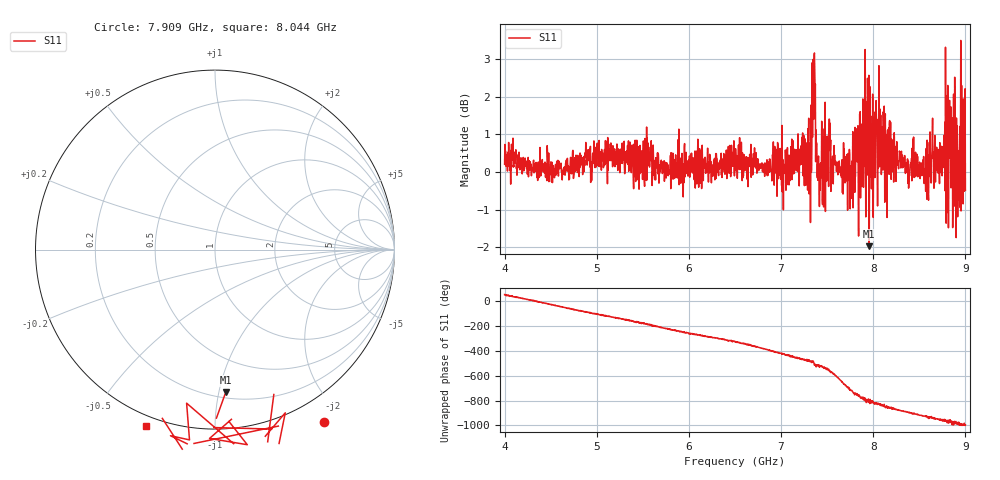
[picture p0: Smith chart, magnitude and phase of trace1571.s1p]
! Created with skrf 1.8.0 (http://scikit-rf.org).
# Hz S RI R 50.0
!freq ReS11 ImS11
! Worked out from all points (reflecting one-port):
!   1601 points, 4 GHz to 9 GHz, reference 50 ohm
!   lowest |S11| = -2.0 dB at 7.956 GHz (marker M1), VSWR 8.84, Z = 12.1 - j52.4 ohm
!   phase of S11 starts at 53 deg and turns -1049 deg over the sweep
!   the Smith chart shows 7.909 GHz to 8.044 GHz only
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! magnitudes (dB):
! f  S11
! 4 GHz  0.2
! 4.625 GHz  -0.2
! 5.25 GHz  0.0
! 5.875 GHz  -0.2
! 6.5 GHz  0.4
! 7.125 GHz  0.2
! 7.309 GHz  0.3
! 7.347 GHz  3.0
! 7.362 GHz  3.2
! 7.4 GHz  -0.2
! 7.412 GHz  0.0
! 7.472 GHz  0.3
! 7.512 GHz  0.8
! 7.65 GHz  -0.1
! 7.75 GHz  -1.0
! 7.775 GHz  0.0
! 7.809 GHz  0.5
! 7.881 GHz  1.1
! 7.928 GHz  1.7
! 7.956 GHz  -2.0
! 7.981 GHz  -0.4
! 8.05 GHz  1.3
! 8.375 GHz  0.1
! 8.578 GHz  0.0
! 8.788 GHz  0.4
! 8.919 GHz  -0.3
! 8.972 GHz  0.8
! 9 GHz  -0.5
